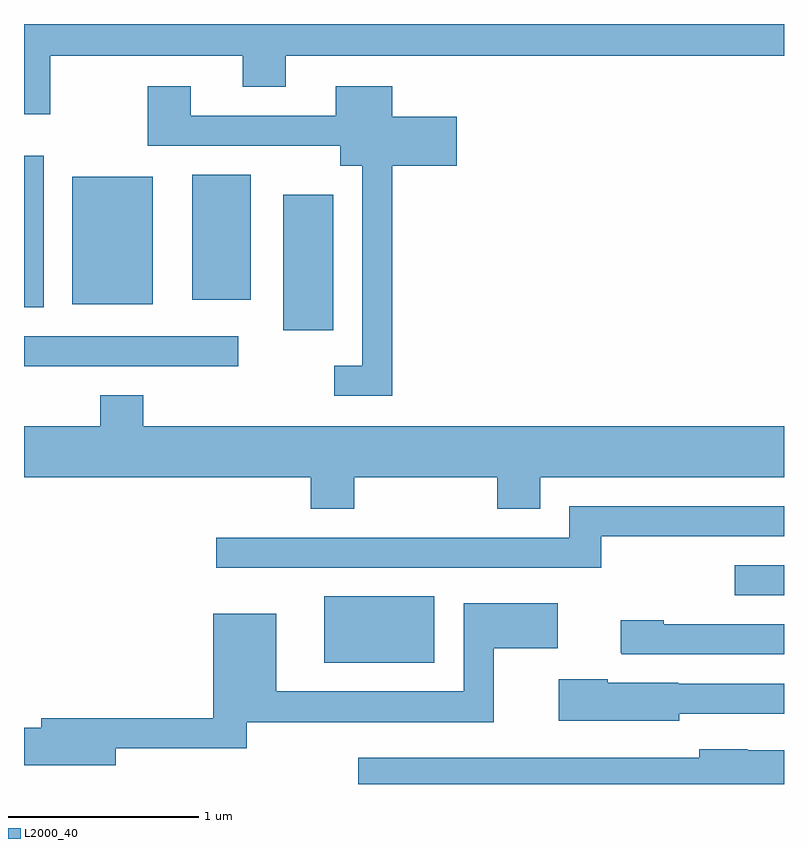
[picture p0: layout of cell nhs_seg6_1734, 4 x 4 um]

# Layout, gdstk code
import gdstk
lib = gdstk.Library(unit=1e-6, precision=1e-09)
def R(c, l, rs):  # rectangles x0, y0, x1, y1
    for r in rs: c.add(gdstk.rectangle(r[:2], r[2:], *l))
def P(c, l, *ps):  # polygons
    for p in ps: c.add(gdstk.Polygon(p, *l))
L2000_40 = (2000, 40)

nhs_seg6_1734 = lib.new_cell('nhs_seg6_1734')
R(nhs_seg6_1734, L2000_40, [(239.191,1586.801,239.769,1587.149), (241.353,1587.156,241.611,1587.314), (237.611,1588.361,238.738,1588.519), (238.976,1588.551,239.239,1589.264), (237.611,1588.671,237.714,1589.469), (237.866,1588.686,238.289,1589.359), (238.496,1588.711,238.804,1589.369)])
P(nhs_seg6_1734, L2000_40, [(237.749,1589.996),(238.761,1589.996),(238.761,1589.831),(238.989,1589.831),(238.989,1589.996),(241.611,1589.996),(241.611,1590.162),(237.611,1590.162),(237.611,1589.686),(237.749,1589.686)],
  [(239.549,1589.416),(239.889,1589.416),(239.889,1589.674),(239.549,1589.674),(239.549,1589.834),(239.251,1589.834),(239.251,1589.679),(238.489,1589.679),(238.489,1589.834),(238.261,1589.834),(238.261,1589.521),(239.276,1589.521),(239.276,1589.416),(239.391,1589.416),(239.391,1588.364),(239.243,1588.364),(239.243,1588.206),(239.549,1588.206)],
  [(239.349,1587.776),(240.101,1587.776),(240.101,1587.611),(240.329,1587.611),(240.329,1587.776),(241.611,1587.776),(241.611,1588.044),(238.239,1588.044),(238.239,1588.209),(238.011,1588.209),(238.011,1588.044),(237.611,1588.044),(237.611,1587.776),(239.121,1587.776),(239.121,1587.611),(239.349,1587.611)],
  [(240.649,1587.466),(241.611,1587.466),(241.611,1587.624),(240.481,1587.624),(240.481,1587.459),(238.623,1587.459),(238.623,1587.301),(240.649,1587.301)],
  [(238.094,1586.351),(238.784,1586.351),(238.784,1586.486),(240.084,1586.486),(240.084,1586.876),(240.419,1586.876),(240.419,1587.114),(239.926,1587.114),(239.926,1586.649),(238.939,1586.649),(238.939,1587.059),(238.606,1587.059),(238.606,1586.509),(237.701,1586.509),(237.701,1586.459),(237.611,1586.459),(237.611,1586.261),(238.094,1586.261)],
  [(241.611,1587.004),(240.979,1587.004),(240.979,1587.024),(240.751,1587.024),(240.751,1586.852),(240.757,1586.846),(241.611,1586.846)],
  [(241.059,1586.531),(241.611,1586.531),(241.611,1586.689),(241.055,1586.689),(241.055,1586.694),(240.684,1586.694),(240.684,1586.714),(240.426,1586.714),(240.426,1586.496),(241.059,1586.496)],
  [(241.611,1586.339),(241.42,1586.339),(241.42,1586.344),(241.166,1586.344),(241.166,1586.299),(239.371,1586.299),(239.371,1586.162),(241.611,1586.162)])

lib.write_gds('nhs_seg6_1734.gds')
